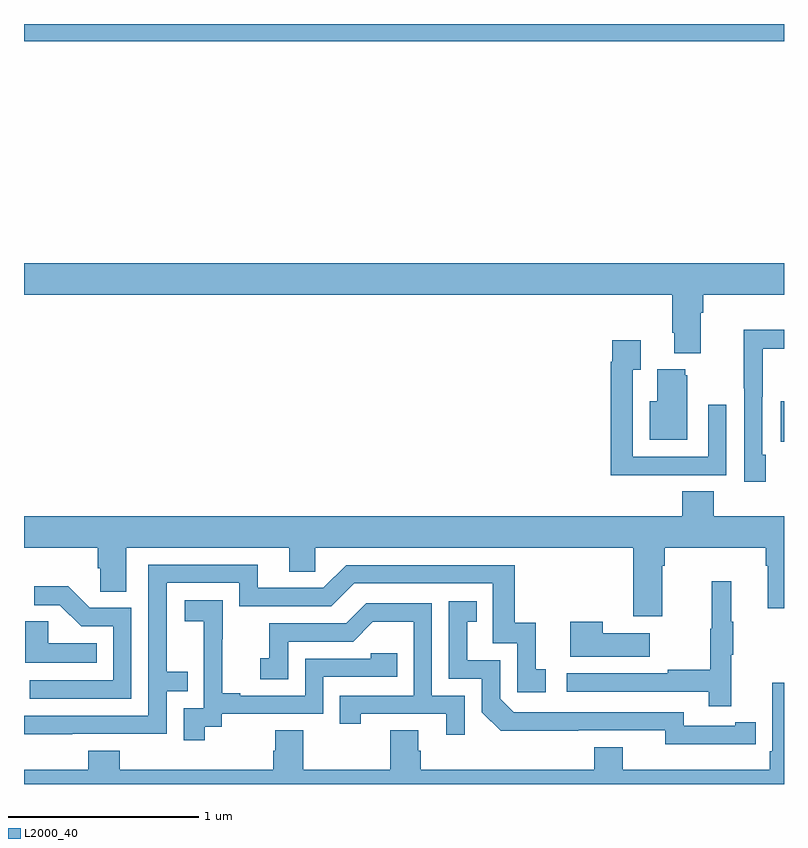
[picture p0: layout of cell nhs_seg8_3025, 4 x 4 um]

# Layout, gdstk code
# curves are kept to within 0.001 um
import gdstk
lib = gdstk.Library(unit=1e-6, precision=1e-09)
def R(c, l, rs):  # rectangles x0, y0, x1, y1
    for r in rs: c.add(gdstk.rectangle(r[:2], r[2:], *l))
def P(c, l, *ps):  # polygons
    for p in ps: c.add(gdstk.Polygon(p, *l))
L2000_40 = (2000, 40)

nhs_seg8_3025 = lib.new_cell('nhs_seg8_3025')
R(nhs_seg8_3025, L2000_40, [(302.984,1139.702,303,1139.914), (299,1141.808,303,1141.9)])
P(nhs_seg8_3025, L2000_40, [(302.563,1140.38),(302.576,1140.38),(302.576,1140.476),(303,1140.476),(303,1140.64),(299,1140.64),(299,1140.476),(302.411,1140.476),(302.411,1140.274),(302.423,1140.274),(302.423,1140.167),(302.563,1140.167)],
  [(302.905,1139.634),(302.886,1139.634),(302.886,1139.938),(302.887,1139.938),(302.887,1140.192),(303,1140.192),(303,1140.29),(302.788,1140.29),(302.788,1139.983),(302.79,1139.983),(302.79,1139.49),(302.905,1139.49)],
  [(302.381,1139.526),(302.697,1139.526),(302.697,1139.896),(302.601,1139.896),(302.601,1139.622),(302.205,1139.622),(302.205,1140.079),(302.245,1140.079),(302.245,1140.235),(302.097,1140.235),(302.097,1140.122),(302.089,1140.122),(302.089,1139.525),(302.381,1139.525)],
  [(302.491,1140.051),(302.48,1140.051),(302.48,1140.082),(302.333,1140.082),(302.333,1139.914),(302.294,1139.914),(302.294,1139.711),(302.491,1139.711)],
  [(302.359,1139.048),(302.372,1139.048),(302.372,1139.144),(302.903,1139.144),(302.903,1139.048),(302.915,1139.048),(302.915,1138.824),(303,1138.824),(303,1139.308),(302.63,1139.308),(302.63,1139.441),(302.465,1139.441),(302.465,1139.308),(299,1139.308),(299,1139.144),(299.387,1139.144),(299.387,1139.035),(299.4,1139.035),(299.4,1138.912),(299.539,1138.912),(299.539,1139.144),(300.395,1139.144),(300.395,1139.017),(300.534,1139.017),(300.534,1139.144),(302.207,1139.144),(302.207,1138.782),(302.359,1138.782)],
  [(299.255,1138.164),(299.751,1138.164),(299.751,1138.389),(299.861,1138.389),(299.861,1138.49),(299.751,1138.49),(299.751,1138.959),(300.132,1138.959),(300.132,1138.836),(300.618,1138.836),(300.738,1138.956),(301.467,1138.956),(301.467,1138.641),(301.596,1138.641),(301.596,1138.383),(301.747,1138.383),(301.747,1138.503),(301.694,1138.503),(301.694,1138.75),(301.583,1138.75),(301.583,1139.052),(300.696,1139.052),(300.576,1138.932),(300.229,1138.932),(300.229,1139.055),(299.655,1139.055),(299.655,1138.26),(299,1138.26),(299,1138.163)],
  [(302.723,1138.579),(302.734,1138.579),(302.734,1138.753),(302.723,1138.753),(302.723,1138.966),(302.62,1138.966),(302.62,1138.716),(302.613,1138.716),(302.613,1138.502),(302.389,1138.502),(302.389,1138.482),(301.857,1138.482),(301.857,1138.386),(302.605,1138.386),(302.605,1138.308),(302.723,1138.308)],
  [(299.565,1138.827),(299.346,1138.827),(299.233,1138.94),(299.055,1138.94),(299.055,1138.842),(299.189,1138.842),(299.3,1138.731),(299.469,1138.731),(299.469,1138.446),(299.031,1138.446),(299.031,1138.35),(299.565,1138.35)],
  [(299.95,1138.201),(300.042,1138.201),(300.042,1138.269),(300.576,1138.269),(300.576,1138.464),(300.965,1138.464),(300.965,1138.587),(300.825,1138.587),(300.825,1138.56),(300.48,1138.56),(300.48,1138.365),(300.139,1138.365),(300.139,1138.378),(300.044,1138.378),(300.044,1138.661),(300.045,1138.661),(300.045,1138.867),(299.847,1138.867),(299.847,1138.757),(299.945,1138.757),(299.945,1138.529),(299.946,1138.529),(299.946,1138.299),(299.841,1138.299),(299.841,1138.131),(299.95,1138.131)],
  [(302.744,1138.11),(302.852,1138.11),(302.852,1138.226),(302.744,1138.226),(302.744,1138.206),(302.472,1138.206),(302.472,1138.278),(301.578,1138.278),(301.506,1138.35),(301.506,1138.551),(301.333,1138.551),(301.333,1138.755),(301.382,1138.755),(301.382,1138.861),(301.236,1138.861),(301.236,1138.455),(301.41,1138.455),(301.41,1138.278),(301.508,1138.181),(302.376,1138.182),(302.376,1138.109)],
  [(301.32,1138.365),(301.146,1138.365),(301.146,1138.851),(300.8,1138.851),(300.695,1138.746),(300.292,1138.746),(300.292,1138.561),(300.243,1138.561),(300.243,1138.452),(300.39,1138.452),(300.39,1138.65),(300.732,1138.65),(300.836,1138.754),(301.05,1138.754),(301.05,1138.365),(300.661,1138.365),(300.661,1138.218),(300.772,1138.218),(300.772,1138.269),(301.223,1138.269),(301.223,1138.158),(301.32,1138.158)],
  [(299.384,1138.642),(299.127,1138.642),(299.127,1138.757),(299.006,1138.757),(299.006,1138.538),(299.384,1138.538)],
  [(302.293,1138.693),(302.045,1138.693),(302.045,1138.753),(301.874,1138.753),(301.874,1138.571),(302.293,1138.571)],
  [(300.928,1138.184),(300.928,1137.976),(300.471,1137.976),(300.471,1138.184),(300.323,1138.184),(300.323,1138.074),(300.311,1138.074),(300.311,1137.976),(299.504,1137.976),(299.504,1138.075),(299.339,1138.075),(299.339,1137.976),(299,1137.976),(299,1137.9),(303,1137.9),(303,1138.432),(302.937,1138.432),(302.937,1138.072),(302.924,1138.072),(302.924,1137.976),(302.152,1137.976),(302.152,1138.093),(302,1138.093),(302,1137.976),(301.088,1137.976),(301.088,1138.074),(301.075,1138.074),(301.075,1138.184)])

lib.write_gds('nhs_seg8_3025.gds')
